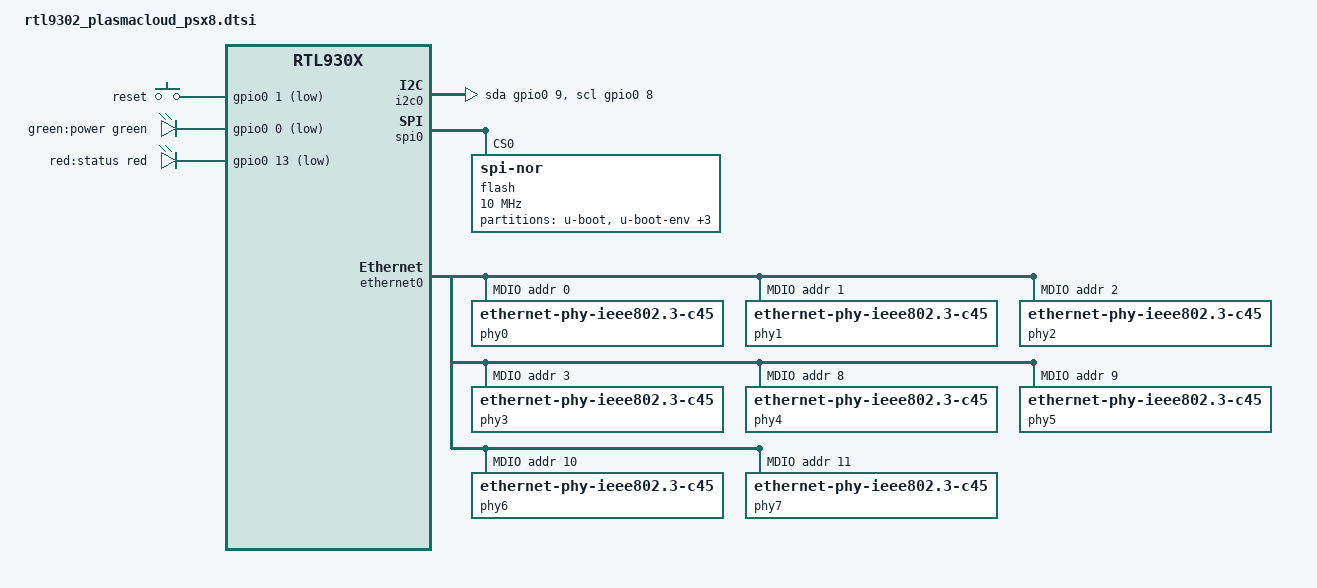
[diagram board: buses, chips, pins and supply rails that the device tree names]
// SPDX-License-Identifier: GPL-2.0-or-later

#include "rtl930x.dtsi"

#include <dt-bindings/input/input.h>
#include <dt-bindings/gpio/gpio.h>
#include <dt-bindings/leds/common.h>

/ {

	aliases {
		led-boot = &led_power;
		led-running = &led_power;
		led-failsafe = &led_power;
		led-upgrade = &led_power;
		label-mac-device = &ethernet0;
	};

	keys {
		compatible = "gpio-keys";

		mode {
			label = "reset";
			gpios = <&gpio0 1 GPIO_ACTIVE_LOW>;
			linux,code = <KEY_RESTART>;
		};
	};


	i2c0: i2c-gpio0 {
		compatible = "i2c-gpio";
		sda-gpios = <&gpio0 9 (GPIO_ACTIVE_HIGH|GPIO_OPEN_DRAIN)>;
		scl-gpios = <&gpio0 8 (GPIO_ACTIVE_HIGH|GPIO_OPEN_DRAIN)>;

		i2c-gpio,delay-us = <5>;	/* ~100 kHz */
		#address-cells = <1>;
		#size-cells = <0>;
	};

	leds {
		compatible = "gpio-leds";

		pinctrl-names = "default";
		pinctrl-0 = <&pinmux_disable_sys_led>;

		led_power: led-0 {
			label = "green:power";
			color = <LED_COLOR_ID_GREEN>;
			function = LED_FUNCTION_POWER;
			gpios = <&gpio0 0 GPIO_ACTIVE_LOW>;
			default-state = "on";
		};

		led_status: led-1 {
			label = "red:status";
			color = <LED_COLOR_ID_RED>;
			function = LED_FUNCTION_STATUS;
			gpios = <&gpio0 13 GPIO_ACTIVE_LOW>;
			default-state = "on";
			linux,default-trigger = "heartbeat";
		};
	};
};

&spi0 {
	status = "okay";
	flash@0 {
		compatible = "jedec,spi-nor";
		reg = <0>;
		spi-max-frequency = <10000000>;

		partitions {
			compatible = "fixed-partitions";
			#address-cells = <1>;
			#size-cells = <1>;

			partition@0 {
				label = "u-boot";
				reg = <0x0 0xe0000>;
				read-only;
			};
			partition@e0000 {
				label = "u-boot-env";
				reg = <0xe0000 0x10000>;
				nvmem-layout {
					compatible = "u-boot,env";

					macaddr_ubootenv_ethaddr: ethaddr {
						#nvmem-cell-cells = <1>;
					};
				};
			};
			partition@f0000 {
				label = "u-boot-env2";
				reg = <0xf0000 0x10000>;
			};
			partition@100000 {
				label = "firmware1";
				reg = <0x100000 0xf80000>;
				compatible = "openwrt,uimage", "denx,uimage";
				openwrt,ih-magic = <0x93000000>;
			};
			partition@0x1080000 {
				label = "firmware2";
				reg = <0x1080000 0xf80000>;
				compatible = "openwrt,uimage", "denx,uimage";
				openwrt,ih-magic = <0x93000000>;
			};
		};
	};
};

&ethernet0 {
	nvmem-cells = <&macaddr_ubootenv_ethaddr>;
	nvmem-cell-names = "mac-address";
	mdio: mdio-bus {
		compatible = "realtek,rtl838x-mdio";
		regmap = <&ethernet0>;
		#address-cells = <1>;
		#size-cells = <0>;

		/* External RTL8224 PHY */
		phy0: ethernet-phy@0 {
			reg = <0>;
			compatible = "ethernet-phy-ieee802.3-c45";
			rtl9300,smi-address = <0 0>;
			sds = < 2 >;
		};

		phy1: ethernet-phy@1 {
			reg = <1>;
			compatible = "ethernet-phy-ieee802.3-c45";
			rtl9300,smi-address = <0 1>;
			sds = < 2 >;
		};

		phy2: ethernet-phy@2 {
			reg = <2>;
			compatible = "ethernet-phy-ieee802.3-c45";
			rtl9300,smi-address = <0 2>;
			sds = < 2 >;
		};

		phy3: ethernet-phy@3 {
			reg = <3>;
			compatible = "ethernet-phy-ieee802.3-c45";
			rtl9300,smi-address = <0 3>;
			sds = < 2 >;
		};

		phy4: ethernet-phy@8 {
			reg = <8>;
			compatible = "ethernet-phy-ieee802.3-c45";
			rtl9300,smi-address = <0 4>;
			sds = < 3 >;
		};

		phy5: ethernet-phy@9 {
			reg = <9>;
			compatible = "ethernet-phy-ieee802.3-c45";
			rtl9300,smi-address = <0 5>;
			sds = < 3 >;
		};

		phy6: ethernet-phy@10 {
			reg = <10>;
			compatible = "ethernet-phy-ieee802.3-c45";
			rtl9300,smi-address = <0 6>;
			sds = < 3 >;
		};

		phy7: ethernet-phy@11 {
			reg = <11>;
			compatible = "ethernet-phy-ieee802.3-c45";
			rtl9300,smi-address = <0 7>;
			sds = < 3 >;
		};

	};
};

&switch0 {
	ports {
		#address-cells = <1>;
		#size-cells = <0>;

		port@0 {
			reg = <0>;
			label = "lan1";
			phy-mode = "usxgmii";
			phy-handle = <&phy0>;
			led-set = <0>;
		};

		port@1 {
			reg = <1>;
			label = "lan2";
			phy-mode = "usxgmii";
			phy-handle = <&phy1>;
			led-set = <0>;
		};

		port@2 {
			reg = <2>;
			label = "lan3";
			phy-mode = "usxgmii";
			phy-handle = <&phy2>;
			led-set = <0>;
		};

		port@3 {
			reg = <3>;
			label = "lan4";
			phy-mode = "usxgmii";
			phy-handle = <&phy3>;
			led-set = <0>;
		};

		port@8 {
			reg = <8>;
			label = "lan5";
			phy-mode = "usxgmii";
			phy-handle = <&phy4>;
			led-set = <0>;
		};

		port@9 {
			reg = <9>;
			label = "lan6";
			phy-mode = "usxgmii";
			phy-handle = <&phy5>;
			led-set = <0>;
		};

		port@10 {
			reg = <10>;
			label = "lan7";
			phy-mode = "usxgmii";
			phy-handle = <&phy6>;
			led-set = <0>;
		};

		port@11 {
			reg = <11>;
			label = "lan8";
			phy-mode = "usxgmii";
			phy-handle = <&phy7>;
			led-set = <0>;
		};

		port@28 {
			ethernet = <&ethernet0>;
			reg = <28>;
			phy-mode = "internal";
			fixed-link {
				speed = <1000>;
				full-duplex;
			};
		};
	};
};
